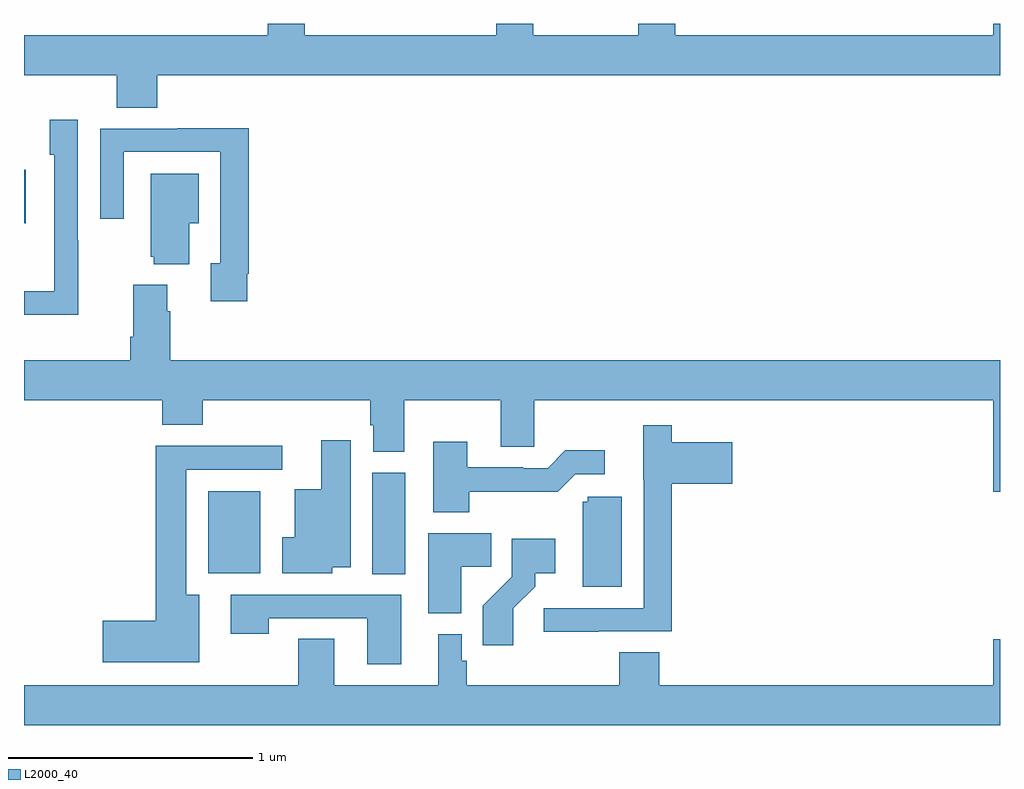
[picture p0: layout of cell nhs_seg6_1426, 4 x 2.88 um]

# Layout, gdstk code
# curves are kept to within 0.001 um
import gdstk
lib = gdstk.Library(unit=1e-6, precision=1e-09)
def R(c, l, rs):  # rectangles x0, y0, x1, y1
    for r in rs: c.add(gdstk.rectangle(r[:2], r[2:], *l))
def P(c, l, *ps):  # polygons
    for p in ps: c.add(gdstk.Polygon(p, *l))
L2000_40 = (2000, 40)

nhs_seg6_1426 = lib.new_cell('nhs_seg6_1426')
R(nhs_seg6_1426, L2000_40, [(198.428,993.244,198.562,993.66), (197.756,993.248,197.968,993.583), (197,994.682,197.008,994.901)])
P(nhs_seg6_1426, L2000_40, [(197.546,995.288),(201,995.288),(201,995.5),(200.972,995.5),(200.972,995.452),(199.67,995.452),(199.67,995.5),(199.517,995.5),(199.517,995.452),(199.087,995.452),(199.087,995.5),(198.935,995.5),(198.935,995.452),(198.151,995.452),(198.151,995.5),(197.999,995.5),(197.999,995.452),(197,995.452),(197,995.288),(197.381,995.288),(197.381,995.155),(197.546,995.155)],
  [(197.223,994.613),(197.22,994.613),(197.22,995.107),(197.105,995.107),(197.105,994.962),(197.124,994.962),(197.124,994.404),(197,994.404),(197,994.307),(197.223,994.307)],
  [(197.914,994.474),(197.921,994.474),(197.921,995.072),(197.629,995.072),(197.629,995.07),(197.313,995.07),(197.313,994.701),(197.409,994.701),(197.409,994.974),(197.805,994.974),(197.805,994.518),(197.765,994.518),(197.765,994.362),(197.914,994.362)],
  [(197.677,994.682),(197.716,994.682),(197.716,994.885),(197.519,994.885),(197.519,994.545),(197.531,994.545),(197.531,994.514),(197.677,994.514)],
  [(201,994.12),(197.6,994.12),(197.6,994.322),(197.587,994.322),(197.587,994.429),(197.447,994.429),(197.447,994.216),(197.435,994.216),(197.435,994.12),(197,994.12),(197,993.956),(197.567,993.956),(197.567,993.857),(197.732,993.857),(197.732,993.956),(198.419,993.956),(198.419,993.855),(198.431,993.855),(198.431,993.745),(198.559,993.745),(198.559,993.956),(198.953,993.956),(198.953,993.766),(199.092,993.766),(199.092,993.956),(200.972,993.956),(200.972,993.582),(201,993.582)],
  [(199.355,993.009),(199.655,993.009),(199.655,993.614),(199.903,993.614),(199.903,993.784),(199.655,993.784),(199.655,993.853),(199.538,993.853),(199.538,993.63),(199.539,993.63),(199.539,993.105),(199.131,993.105),(199.131,993.007),(199.355,993.007)],
  [(198.264,993.272),(198.34,993.272),(198.34,993.793),(198.218,993.793),(198.218,993.592),(198.11,993.592),(198.11,993.394),(198.059,993.394),(198.059,993.248),(198.264,993.248)],
  [(198.825,993.582),(199.187,993.581),(199.26,993.654),(199.381,993.654),(199.381,993.751),(199.219,993.751),(199.146,993.678),(199.046,993.678),(199.046,993.681),(198.817,993.681),(198.817,993.787),(198.677,993.787),(198.677,993.497),(198.825,993.497)],
  [(197.719,993.16),(197.665,993.16),(197.665,993.672),(198.058,993.672),(198.058,993.77),(197.54,993.77),(197.54,993.053),(197.322,993.053),(197.322,992.882),(197.719,992.882)],
  [(199.45,993.561),(199.311,993.561),(199.311,993.54),(199.289,993.54),(199.289,993.192),(199.45,993.192)],
  [(198.793,993.274),(198.914,993.274),(198.914,993.412),(198.656,993.412),(198.656,993.083),(198.793,993.083)],
  [(199.006,993.103),(199.096,993.193),(199.096,993.248),(199.177,993.248),(199.177,993.388),(198.999,993.388),(198.999,993.233),(198.88,993.114),(198.88,992.952),(199.006,992.952)],
  [(198.547,993.159),(197.847,993.159),(197.847,993),(198.003,993),(198.003,993.063),(198.407,993.063),(198.407,992.874),(198.547,992.874)],
  [(201,992.977),(200.972,992.977),(200.972,992.788),(199.604,992.788),(199.604,992.924),(199.439,992.924),(199.439,992.788),(198.815,992.788),(198.815,992.889),(198.795,992.889),(198.795,992.998),(198.698,992.998),(198.698,992.788),(198.271,992.788),(198.271,992.978),(198.124,992.978),(198.124,992.788),(197,992.788),(197,992.624),(201,992.624)])

lib.write_gds('nhs_seg6_1426.gds')
